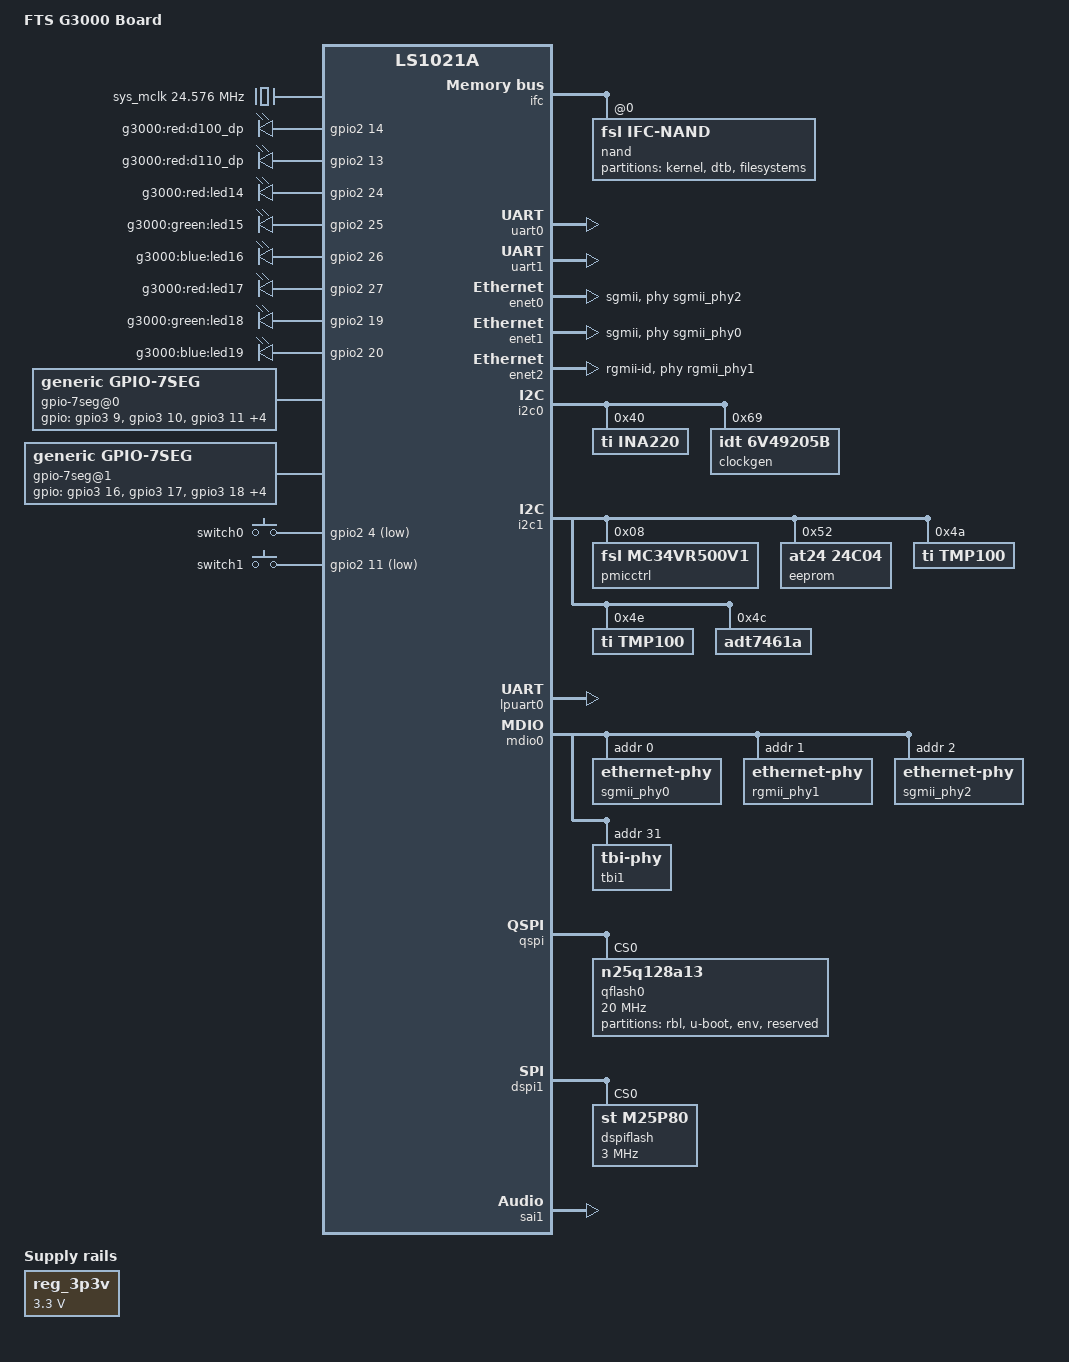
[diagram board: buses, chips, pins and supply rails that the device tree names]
/*
 * Copyright 2013-2015 Freescale Semiconductor, Inc.
 *
 * This program is free software; you can redistribute it and/or modify
 * it under the terms of the GNU General Public License as published by
 * the Free Software Foundation; either version 2 of the License, or
 * (at your option) any later version.
 */

/dts-v1/;
#include "ls1021a.dtsi"

/ {
	model = "FTS G3000 Board";

	aliases {
		enet2_rgmii_phy = &rgmii_phy1;
		enet0_sgmii_phy = &sgmii_phy2;
		enet1_sgmii_phy = &sgmii_phy0;
	};

	sys_mclk: clock-mclk {
		compatible = "fixed-clock";
		#clock-cells = <0>;
		clock-frequency = <24576000>;
	};

	regulators {
		compatible = "simple-bus";
		#address-cells = <1>;
		#size-cells = <0>;

		reg_3p3v: regulator@0 {
			compatible = "regulator-fixed";
			reg = <0>;
			regulator-name = "3P3V";
			regulator-min-microvolt = <3300000>;
			regulator-max-microvolt = <3300000>;
			regulator-always-on;
		};
	};

	leds {
		compatible = "gpio-leds";

		led_gpio3_14 { // LED20
			label = "g3000:red:d100_dp";
			gpios = <&gpio2 14 0>;
			linux,default-trigger = "none";
		};
		led_gpio3_13 { // LED21
			label = "g3000:red:d110_dp";
			gpios = <&gpio2 13 0>;
			linux,default-trigger = "none";
		};
		led_gpio3_24 { // LED14
			label = "g3000:red:led14";
			gpios = <&gpio2 24 0>;
			linux,default-trigger = "none";
		};
		led_gpio3_25 { // LED15
			label = "g3000:green:led15";
			gpios = <&gpio2 25 0>;
			linux,default-trigger = "none";
		};
		led_gpio3_26 { // LED16
			label = "g3000:blue:led16";
			gpios = <&gpio2 26 0>;
			linux,default-trigger = "none";
		};
		led_gpio3_27 { // LED17
			label = "g3000:red:led17";
			gpios = <&gpio2 27 0>;
			linux,default-trigger = "none";
		};
		led_gpio3_19 { // LED18
			label = "g3000:green:led18";
			gpios = <&gpio2 19 0>;
			linux,default-trigger = "none";
		};
		led_gpio3_20 { // LED19
			label = "g3000:blue:led19";
			gpios = <&gpio2 20 0>;
			linux,default-trigger = "none";
		};
	};

	gpio-7seg@0 {
		  compatible = "generic,gpio-7seg";
		  status = "okay";
			gpios = <
			&gpio3 9 0
			&gpio3 10 0
			&gpio3 11 0
			&gpio3 12 0
			&gpio3 13 0
			&gpio3 14 0
			&gpio3 15 0
			>;
		default-value = <0>;
	};

	gpio-7seg@1 {
		  compatible = "generic,gpio-7seg";
		  status = "okay";
			gpios = <
			&gpio3 16 0
			&gpio3 17 0
			&gpio3 18 0
			&gpio3 19 0
			&gpio3 20 0
			&gpio3 21 0
			&gpio3 22 0
			>;
		default-value = <0>;
	};


	gpio_keys {
		  compatible = "gpio-keys";
		  #address-cells = <1>;
		  #size-cells = <0>;
		  autorepeat;
		  button@0 {
			   label = "switch0";
			   linux,code = <103>;
			   gpios = <&gpio2 4 1>;
		  };
		  button@1 {
			   label = "switch1";
			   linux,code = <108>;
			   gpios = <&gpio2 11 1>;
		  };
	};
};

&ifc {
	status = "okay";
	#address-cells = <2>;
	#size-cells = <1>;

	/* NOR, NAND Flashes and FPGA on board */
	ranges = <0x0 0x0 0x0 0x60000000 0x00010000>;

		nand@0,0 {
			compatible = "fsl,ifc-nand";
			#address-cells = <1>;
			#size-cells = <1>;
			reg = <0x0 0x0 0x10000>;

			partition@0 {
				reg = <0x0 0x00800000>;
				label = "kernel";
			};
			partition@800000 {
				reg = <0x00800000 0x020000>;
				label = "dtb";
			};
			partition@820000 {
				reg = <0x00820000 0x1f7e0000>;
				label = "filesystems";
			};
	       };
};

&uart0 {
	status = "okay";
};

&uart1 {
	status = "okay";
};

&enet0 {
	tbi-handle = <&tbi1>;
	phy-handle = <&sgmii_phy2>;
	phy-connection-type = "sgmii";
	status = "okay";
};

&enet1 {
	tbi-handle = <&tbi1>;
	phy-handle = <&sgmii_phy0>;
	phy-connection-type = "sgmii";
	status = "okay";
};

&enet2 {
	phy-handle = <&rgmii_phy1>;
	phy-connection-type = "rgmii-id";
	status = "okay";
};

&i2c0 {
	status = "okay";

	ina220@40 {
		compatible = "ti,ina220";
		reg = <0x40>;
		shunt-resistor = <1000>;
	};

	clockgen@69 {
		compatible = "idt,6v49205b";
		reg = <0x69>;
	};
};

&i2c1 {
	status = "okay";

	pmicctrl@08 {
		compatible = "fsl,mc34vr500v1";
		reg = <0x08>;
	};

    eeprom@52 { //52..53
		compatible = "at24,24c04";
		reg = <0x52>;
	};

    tmp100@4a { // handled by lm75 driver
	compatible = "ti,tmp100";
	reg = <0x4a>;
    };

    tmp100@4e { // handled by lm75 driver
	compatible = "ti,tmp100";
	reg = <0x4e>;
    };

    adt7461a@4c { //handled by lm90 driver
	compatible = "adt7461a", "adi,adt7461a";
	reg = <0x4c>;
    };
};

&ifc {
	status = "okay";
	#address-cells = <2>;
	#size-cells = <1>;

	/* NOR, NAND Flashes and FPGA on board */
	ranges = <0x0 0x0 0x0 0x60000000 0x00010000>;

		nand@0,0 {
			compatible = "fsl,ifc-nand";
			#address-cells = <1>;
			#size-cells = <1>;
			reg = <0x0 0x0 0x10000>;

			partition@0 {
				reg = <0x0 0x00800000>;
				label = "kernel";
			};
			partition@800000 {
				reg = <0x00800000 0x020000>;
				label = "dtb";
			};
			partition@820000 {
				reg = <0x00820000 0x1f7e0000>;
				label = "filesystems";
			};
		};
};

&lpuart0 {
	status = "okay";
};

&mdio0 {
	sgmii_phy0: ethernet-phy@0 {
		reg = <0x0>;
	};
	rgmii_phy1: ethernet-phy@1 {
		reg = <0x1>;
	};
	sgmii_phy2: ethernet-phy@2 {
		reg = <0x2>;
	};
	tbi1: tbi-phy@1f {
		reg = <0x1f>;
		device_type = "tbi-phy";
	};
};

/*
&uqe {
	tdma: ucc@2000 {
		compatible = "fsl,ucc-tdm";
		rx-clock-name = "clk8";
		tx-clock-name = "clk9";
		fsl,rx-sync-clock = "rsync_pin";
		fsl,tx-sync-clock = "tsync_pin";
		fsl,tx-timeslot = <0xfffffffe>;
		fsl,rx-timeslot = <0xfffffffe>;
		fsl,tdm-framer-type = "e1";
		fsl,tdm-mode = "normal";
		fsl,tdm-id = <0>;
		fsl,siram-entry-id = <0>;
	};

	serial: ucc@2200 {
		device_type = "serial";
		compatible = "ucc_uart";
		port-number = <1>;
		rx-clock-name = "brg2";
		tx-clock-name = "brg2";
	};
};
*/

&qspi {
	num-cs = <2>;
	status = "okay";

	qflash0: n25q128a13@0 {
		compatible = "n25q128a13", "jedec,spi-nor";
		#address-cells = <1>;
		#size-cells = <1>;
		spi-max-frequency = <20000000>;
		reg = <0>;

		partition@0 {
			reg = <0x0 0x00010000>;
			label = "rbl";
		};
		partition@10000 {
			reg = <0x00010000 0x000f0000>;
			label = "u-boot";
		};
		partition@100000 {
			reg = <0x00100000 0x00002000>;
			label = "env";
		};
		partition@102000 {
			reg = <0x00102000 0x00efe000>;
			label = "reserved";
		};
	};
};

&dspi1 {
	bus-num = <0>;
	status = "okay";

	dspiflash: compatible@0 {
		compatible = "st,m25p80";
		#address-cells = <1>;
		#size-cells = <1>;
		spi-max-frequency = <3000000>;
		spi-cpol;
		spi-cpha;
		reg = <0>;
	};
};

&sai1 {
	status = "okay";
};

&usb2 {
	status = "disabled";
};
